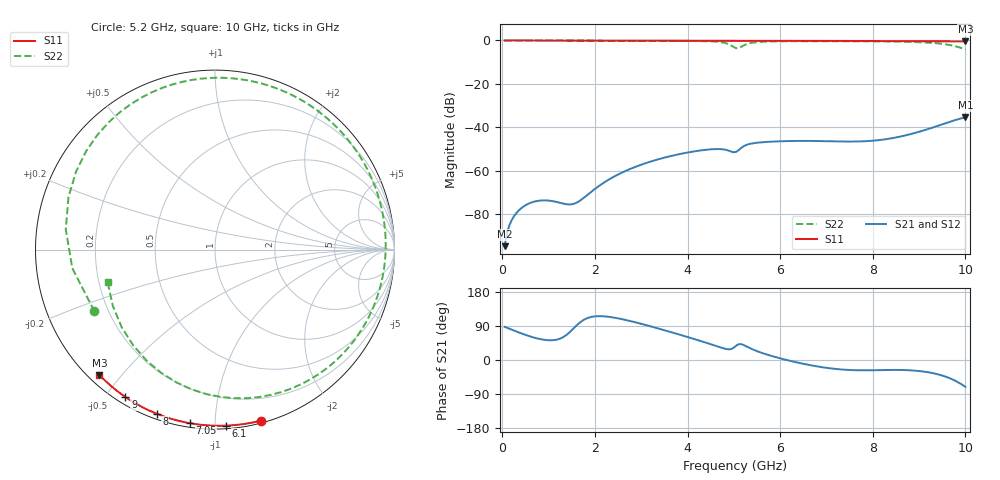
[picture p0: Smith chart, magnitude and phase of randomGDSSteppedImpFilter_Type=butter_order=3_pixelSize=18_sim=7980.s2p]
! freq	dB(S11)	phase(S11)	dB(S12)	phase(S12)
!  dB(S21)	phase(S21)	dB(S22)	phase(S22)
!S-par simulation data
#  GHz  S  DB  R 50
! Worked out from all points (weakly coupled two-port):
!   200 points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, 50 MHz to 10 GHz, reference 50 ohm
!   highest |S21| = -35.43 dB at 10 GHz (marker M1); lowest = -94.7 dB at 50 MHz (marker M2)
!   lowest |S11| = -0.4 dB at 10 GHz (marker M3), VSWR 38.82, Z = 1.53 - j21.9 ohm
!   |S11| at or under -10 dB: nowhere
!   |S22| runs from -4.1 to 0.0 dB; largest |S21 - S12| = 0
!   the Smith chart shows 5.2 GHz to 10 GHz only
!   S11 on the Smith chart (normalised r, x): 5.2 GHz: 0.02, -1.31; 6.1 GHz: 0.02, -1.06; 7.05 GHz: 0.02, -0.87; 8 GHz: 0.02, -0.71; 9 GHz: 0.03, -0.56; 10 GHz: 0.03, -0.44
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0.05  -0.00 -0.8  -94.69 87.5  -94.69 87.5  -0.00 -4.3
0.85  -0.02 -13.0  -73.65 54.4  -73.65 54.4  -0.08 -68.9
1.75  -0.03 -26.5  -72.61 105.3  -72.61 105.3  -0.12 -126.3
2.55  -0.05 -38.2  -61.18 108.7  -61.18 108.7  -0.15 -166.2
3.4  -0.07 -50.4  -54.51 82.1  -54.51 82.1  -0.18 155.8
4.15  -0.08 -60.8  -51.04 55.1  -51.04 55.1  -0.26 118.9
4.65  -0.10 -67.6  -49.98 35.7  -49.98 35.7  -0.62 77.4
4.9  -0.11 -70.9  -50.81 28.1  -50.81 28.1  -1.84 22.5
5  -0.11 -72.2  -51.47 32.7  -51.47 32.7  -3.07 -26.1
5.05  -0.11 -72.9  -51.28 37.8  -51.28 37.8  -3.56 -59.6
5.1  -0.11 -73.6  -50.56 41.5  -50.56 41.5  -3.54 -95.2
5.2  -0.12 -74.9  -48.86 40.2  -48.86 40.2  -2.45 -152.9
5.3  -0.12 -76.2  -47.88 34.2  -47.88 34.2  -1.52 172.3
5.5  -0.13 -78.8  -47.08 23.4  -47.08 23.4  -0.77 135.9
6.1  -0.15 -86.5  -46.35 1.2  -46.35 1.2  -0.38 89.6
6.7  -0.18 -93.9  -46.26 -14.8  -46.26 -14.8  -0.34 60.4
7.05  -0.20 -98.2  -46.39 -21.5  -46.39 -21.5  -0.34 45.0
8  -0.26 -109.6  -46.15 -27.0  -46.15 -27.0  -0.42 4.4
8.35  -0.29 -113.7  -45.24 -26.3  -45.24 -26.3  -0.49 -11.2
9  -0.35 -121.3  -42.04 -29.1  -42.04 -29.1  -0.81 -44.7
9.6  -0.40 -128.2  -37.91 -45.1  -37.91 -45.1  -1.87 -93.3
10  -0.45 -132.7  -35.43 -70.9  -35.43 -70.9  -4.09 -163.4
